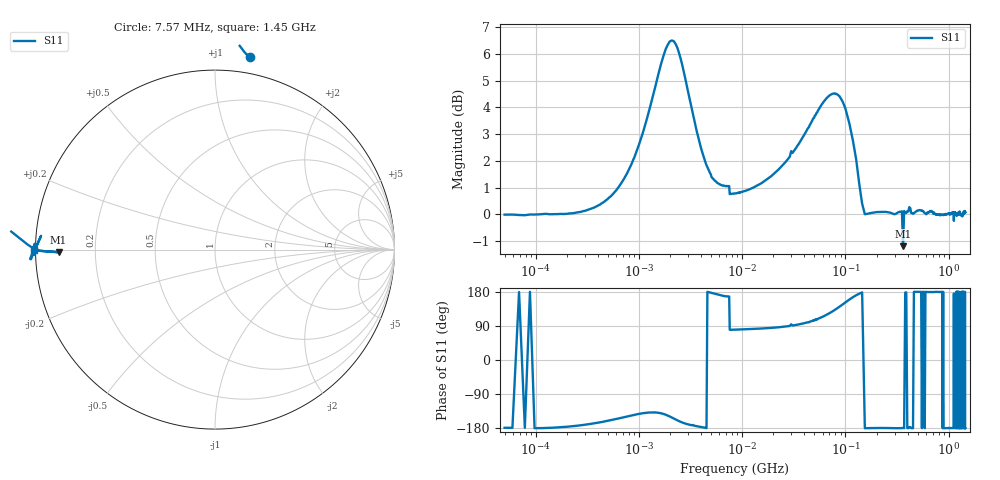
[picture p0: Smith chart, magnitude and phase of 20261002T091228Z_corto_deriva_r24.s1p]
! piloto_deriva / corto_deriva / r24
# HZ S RI R 50
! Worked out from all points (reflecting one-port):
!   501 points, 50 kHz to 1.45 GHz, reference 50 ohm
!   lowest |S11| = -1.2 dB at 361 MHz (marker M1), VSWR 14.55, Z = 3.44 - j0.421 ohm
!   phase of S11 starts at -179 deg and turns -1 deg over the sweep
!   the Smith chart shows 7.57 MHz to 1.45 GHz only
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50000  -0.998 -0.0207
183000  -0.9997 -0.0523
373000  -1.004 -0.2343
658000  -1.015 -0.5106
1180000  -1.135 -0.976
1630000  -1.471 -1.212
1990000  -1.808 -1.082
2440000  -1.9 -0.6463
3070000  -1.634 -0.2727
4330000  -1.264 -0.0304
7300000  -1.103 0.2415
7750000  0.1949 1.074
8560000  0.1871 1.078
1.99e7  0.1018 1.183
3.16e7  -0.035 1.313
4.6e7  -0.3037 1.446
5.77e7  -0.596 1.48
6.76e7  -0.8613 1.419
8.02e7  -1.158 1.219
9.37e7  -1.354 0.9011
9.82e7  -1.385 0.7837
1e8  -1.392 0.7386
1.18e8  -1.332 0.3398
1.36e8  -1.135 0.1004
1.63e8  -1.002 -0.00383
3.61e8  -0.8713 -0.0147
4.06e8  -1.012 -0.00336
1.45e9  -1.009 -0.00287
